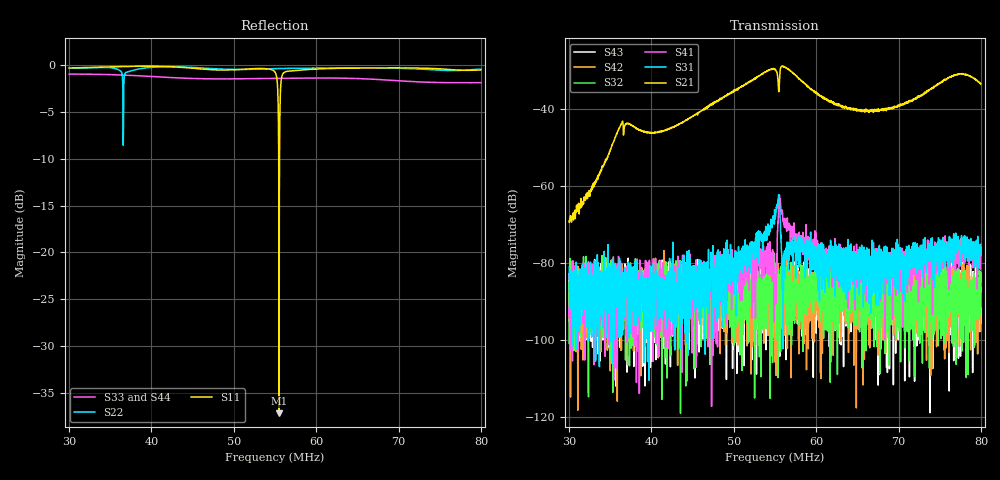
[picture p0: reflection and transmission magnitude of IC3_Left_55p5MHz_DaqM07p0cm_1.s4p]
#  HZ  S  DB  R  50.00
! Rohde & Schwarz Vector Network Analyzer
! Rohde-Schwarz,ZNB8-4Port,1311601044102961,2.82
! Created: UTC 2/13/2019, 9:37:57 AM
! freq[Hz]  db:S11  ang:S11  db:S12  ang:S12  db:S13  ang:S13  db:S14  ang:S14
!  db:S21  ang:S21  db:S22  ang:S22  db:S23  ang:S23  db:S24  ang:S24
!  db:S31  ang:S31  db:S32  ang:S32  db:S33  ang:S33  db:S34  ang:S34
!  db:S41  ang:S41  db:S42  ang:S42  db:S43  ang:S43  db:S44  ang:S44
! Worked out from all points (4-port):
!   2001 points, 30 MHz to 80 MHz, reference 50 ohm
!   strongest paths, dB at 30 MHz, 42.5 MHz, 55 MHz, 67.5 MHz, 80 MHz:
!     S21: -69.1, -44.8, -29.9, -40.1, -33.5
!     S31: -81.1, -82.5, -68.2, -77.9, -77.4
!     S41: -91.5, -87.5, -87.6, -84.6, -75.1
!     S32: -100.8, -90.7, -91.6, -89.6, -87.3
!     S42: -92.2, -93.3, -84.8, -103.9, -84.9
!     S43: -90.1, -92.2, -83.5, -84.9, -91.7
!   lowest |S11| = -37.2 dB at 55.5 MHz (marker M1), VSWR 1.03, Z = 51.2 - j0.643 ohm
!   |S11| at or under -10 dB: 55.45008 MHz to 55.54728 MHz (97.21 kHz wide, 0.175 % of centre)
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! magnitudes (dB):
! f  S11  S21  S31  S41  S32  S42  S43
! 30 MHz  -0.3  -69.1  -81.1  -91.5  -100.8  -92.2  -90.1
! 36.3 MHz  -0.1  -44.2  -86.7  -88.5  -85.7  -86.4  -83.4
! 55 MHz  -0.7  -29.9  -68.2  -87.6  -91.6  -84.8  -83.5
! 55.5 MHz  -37.2  -34.5  -63.7  -63.0  -85.8  -83.8  -89.7
! 56.05 MHz  -0.8  -29.1  -77.9  -68.7  -87.8  -83.3  -86.7
! 65.75 MHz  -0.3  -40.3  -80.4  -88.1  -96.4  -84.5  -86.2
! 80 MHz  -0.5  -33.5  -77.4  -75.1  -87.3  -84.9  -91.7
